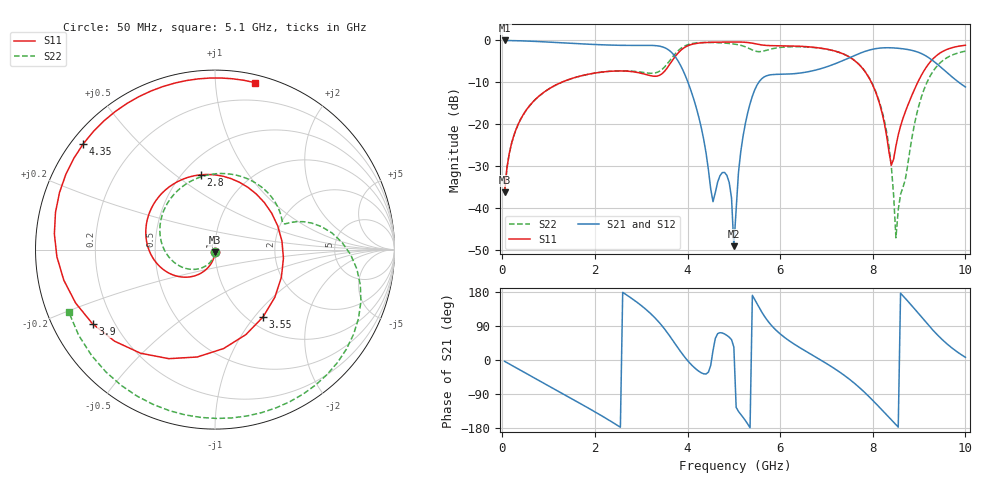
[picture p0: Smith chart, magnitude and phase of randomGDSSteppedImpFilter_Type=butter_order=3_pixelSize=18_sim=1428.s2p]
! freq	dB(S11)	phase(S11)	dB(S12)	phase(S12)
!  dB(S21)	phase(S21)	dB(S22)	phase(S22)
!S-par simulation data
#  GHz  S  DB  R 50
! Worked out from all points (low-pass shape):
!   200 points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, 50 MHz to 10 GHz, reference 50 ohm
!   highest |S21| = -0.01 dB at 50 MHz (marker M1); lowest = -49.0 dB at 5 GHz (marker M2)
!   |S21| within 3 dB of the highest: start of sweep to 3.668 GHz; 7.735 GHz to 9.024 GHz (1.289 GHz wide, 15.4 % of centre)
!   lowest |S11| = -36.2 dB at 50 MHz (marker M3), VSWR 1.03, Z = 50 - j1.54 ohm
!   |S11| at or under -10 dB: start of sweep to 1.278 GHz; 7.97 GHz to 8.971 GHz (1.002 GHz wide, 11.8 % of centre)
!   |S22| runs from -47.0 to -0.5 dB; largest |S21 - S12| = 0
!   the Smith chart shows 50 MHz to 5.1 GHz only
!   S11 on the Smith chart (normalised r, x): 50 MHz: 1.00, -0.03; 2.8 GHz: 0.61, +0.62; 3.55 GHz: 1.17, -1.11; 3.9 GHz: 0.12, -0.28; 4.35 GHz: 0.03, +0.35; 5.1 GHz: 0.06, +1.26
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0.05  -36.24 -90.5  -0.01 -3.5  -0.01 -3.5  -36.27 -91.5
0.5  -16.89 -118.7  -0.14 -34.4  -0.14 -34.4  -16.91 -131.0
1.75  -8.32 173.3  -0.85 -119.3  -0.85 -119.3  -8.33 126.8
2.8  -7.44 100.9  -1.19 162.0  -1.19 162.0  -7.32 43.0
3.4  -8.30 -7.3  -1.38 97.4  -1.38 97.4  -7.32 19.9
3.55  -6.73 -54.4  -1.98 74.4  -1.98 74.4  -5.75 17.5
3.9  -1.96 -148.7  -7.09 14.0  -7.09 14.0  -1.58 -13.7
4.35  -0.53 141.3  -23.66 -36.5  -23.66 -36.5  -0.50 -63.8
4.55  -0.44 120.9  -38.45 24.5  -38.45 24.5  -0.51 -84.2
4.9  -0.39 91.7  -33.86 60.2  -33.86 60.2  -0.73 -124.6
5  -0.38 84.1  -49.05 34.3  -49.05 34.3  -0.86 -139.3
5.05  -0.38 80.3  -40.10 -124.9  -40.10 -124.9  -0.94 -147.8
5.1  -0.39 76.6  -31.49 -135.6  -31.49 -135.6  -1.05 -157.1
5.45  -0.77 51.5  -11.82 159.7  -11.82 159.7  -2.51 96.1
5.7  -1.20 37.8  -8.46 108.5  -8.46 108.5  -2.36 -0.1
6.1  -1.28 16.4  -8.06 59.1  -8.06 59.1  -1.57 -76.4
6.7  -1.61 -18.3  -7.25 12.6  -7.25 12.6  -1.67 -131.6
7.85  -7.72 -101.4  -2.55 -88.5  -2.55 -88.5  -7.63 123.3
8.35  -26.56 -99.1  -1.75 -151.2  -1.75 -151.2  -25.26 56.3
8.5  -25.19 -4.0  -1.83 -170.6  -1.83 -170.6  -47.04 120.6
9.1  -7.34 11.8  -3.41 106.5  -3.41 106.5  -11.89 -21.1
10  -1.16 -53.7  -11.10 7.1  -11.10 7.1  -2.57 -123.8
